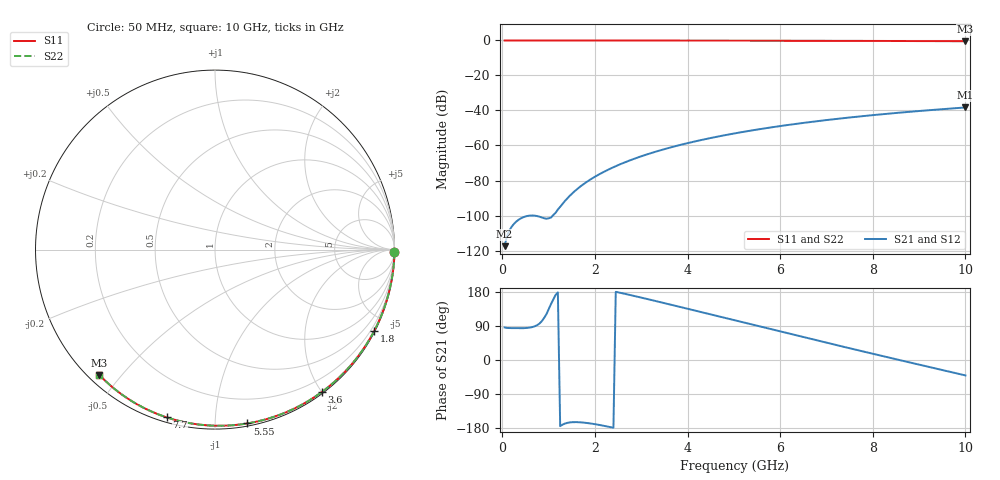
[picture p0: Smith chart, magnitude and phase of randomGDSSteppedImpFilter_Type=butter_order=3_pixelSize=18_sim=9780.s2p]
! freq	dB(S11)	phase(S11)	dB(S12)	phase(S12)
!  dB(S21)	phase(S21)	dB(S22)	phase(S22)
!S-par simulation data
#  GHz  S  DB  R 50
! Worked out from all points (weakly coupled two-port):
!   200 points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, 50 MHz to 10 GHz, reference 50 ohm
!   highest |S21| = -38.29 dB at 10 GHz (marker M1); lowest = -117.5 dB at 50 MHz (marker M2)
!   lowest |S11| = -0.4 dB at 10 GHz (marker M3), VSWR 38.98, Z = 1.53 - j21.9 ohm
!   |S11| at or under -10 dB: nowhere
!   |S22| runs from -0.4 to 0.0 dB; largest |S21 - S12| = 0
!   S11 on the Smith chart (normalised r, x): 50 MHz: open; 1.8 GHz: 0.04, -4.13; 3.6 GHz: 0.02, -2.00; 5.55 GHz: 0.02, -1.20; 7.7 GHz: 0.02, -0.75; 10 GHz: 0.03, -0.44
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0.05  -0.00 -0.8  -117.51 85.9  -117.51 85.9  -0.00 -0.8
0.45  -0.01 -6.9  -101.01 84.0  -101.01 84.0  -0.01 -6.9
0.9  -0.02 -13.7  -101.52 110.5  -101.52 110.5  -0.02 -13.7
1.75  -0.03 -26.5  -82.15 -165.1  -82.15 -165.1  -0.03 -26.5
1.8  -0.03 -27.2  -81.21 -165.8  -81.21 -165.8  -0.03 -27.2
1.85  -0.04 -28.0  -80.32 -166.5  -80.32 -166.5  -0.04 -28.0
1.9  -0.04 -28.7  -79.47 -167.4  -79.47 -167.4  -0.04 -28.7
2.05  -0.04 -30.9  -77.09 -170.4  -77.09 -170.4  -0.04 -30.9
2.25  -0.04 -33.9  -74.28 -175.0  -74.28 -175.0  -0.04 -33.9
2.65  -0.05 -39.7  -69.58 174.5  -69.58 174.5  -0.05 -39.7
3  -0.06 -44.7  -66.17 164.7  -66.17 164.7  -0.06 -44.7
3.4  -0.07 -50.4  -62.84 153.1  -62.84 153.1  -0.07 -50.4
3.6  -0.07 -53.2  -61.35 147.1  -61.35 147.1  -0.07 -53.2
4.3  -0.09 -62.9  -56.84 126.2  -56.84 126.2  -0.09 -62.9
5.05  -0.11 -72.9  -52.93 103.7  -52.93 103.7  -0.11 -72.9
5.55  -0.13 -79.4  -50.70 88.7  -50.70 88.7  -0.13 -79.4
6.1  -0.15 -86.5  -48.53 72.3  -48.53 72.3  -0.15 -86.5
6.7  -0.18 -94.0  -46.43 54.5  -46.43 54.5  -0.18 -94.0
7.7  -0.24 -106.1  -43.45 25.2  -43.45 25.2  -0.24 -106.1
8.35  -0.29 -113.7  -41.78 6.4  -41.78 6.4  -0.29 -113.7
9.15  -0.36 -123.0  -39.97 -16.5  -39.97 -16.5  -0.36 -123.0
10  -0.45 -132.7  -38.29 -40.7  -38.29 -40.7  -0.45 -132.7
